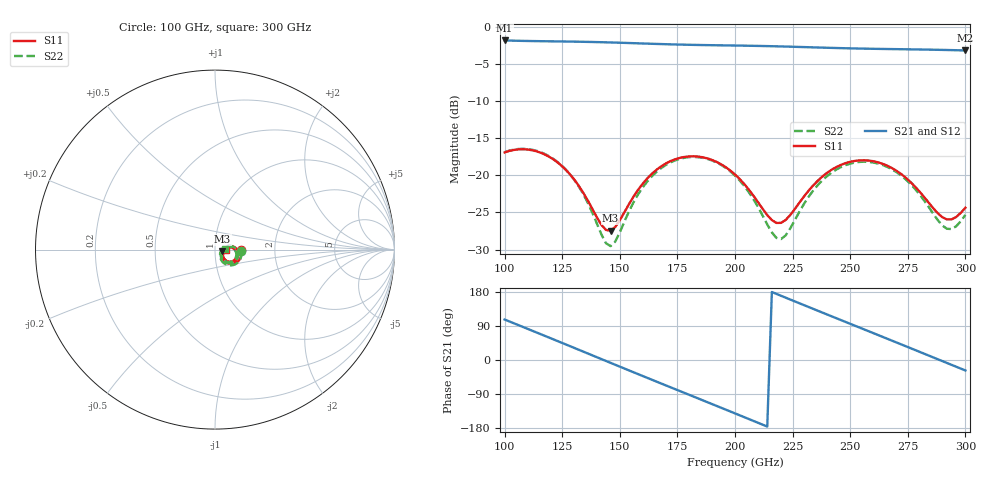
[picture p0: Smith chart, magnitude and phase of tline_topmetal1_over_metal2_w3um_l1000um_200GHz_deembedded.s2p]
! Created with skrf 2.2.0 (http://scikit-rf.org).
# GHz S DB R 50.0
! Port[1] = P1
! Port[2] = P2
!freq dBS11 angS11 dBS21 angS21 dBS12 angS12 dBS22 angS22
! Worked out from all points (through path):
!   101 points, 100 GHz to 300 GHz, reference 50 ohm
!   highest |S21| = -1.81 dB at 100 GHz (marker M1); lowest = -3.2 dB at 300 GHz (marker M2)
!   group delay of S21, straight-line fit = 6.87 ps
!   lowest |S11| = -27.5 dB at 146 GHz (marker M3), VSWR 1.09, Z = 54.3 - j1.1 ohm
!   |S11| at or under -10 dB: start of sweep to end of sweep
!   |S22| runs from -29.5 to -16.4 dB; largest |S21 - S12| = 5.6e-16
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100  -16.91 -0.9  -1.81 106.8  -1.81 106.8  -16.87 -3.0
108  -16.48 -15.3  -1.87 87.1  -1.87 87.1  -16.42 -18.2
116  -16.99 -29.5  -1.91 67.3  -1.91 67.3  -16.92 -33.4
126  -19.07 -44.8  -1.95 42.5  -1.95 42.5  -19.04 -50.5
134  -22.28 -50.6  -1.99 22.5  -1.99 22.5  -22.44 -58.9
142  -26.68 -35.4  -2.05 2.5  -2.05 2.5  -27.96 -46.2
146  -27.47 -13.9  -2.08 -7.5  -2.08 -7.5  -29.55 -18.9
156  -22.85 14.4  -2.18 -32.4  -2.18 -32.4  -23.61 17.0
168  -18.78 4.8  -2.30 -62.1  -2.30 -62.1  -19.01 5.0
176  -17.65 -7.4  -2.36 -81.8  -2.36 -81.8  -17.78 -8.5
184  -17.47 -20.4  -2.42 -101.4  -2.42 -101.4  -17.55 -22.7
200  -19.89 -42.9  -2.49 -140.9  -2.49 -140.9  -20.04 -48.6
210  -23.62 -44.7  -2.55 -165.7  -2.55 -165.7  -24.28 -53.8
216  -26.03 -30.7  -2.59 179.4  -2.59 179.4  -27.70 -39.7
220  -26.41 -14.4  -2.62 169.4  -2.62 169.4  -28.59 -17.6
234  -21.33 7.7  -2.74 134.8  -2.74 134.8  -22.02 11.1
250  -18.17 -10.4  -2.87 95.5  -2.87 95.5  -18.42 -9.8
258  -18.00 -22.4  -2.92 75.9  -2.92 75.9  -18.19 -22.9
268  -18.99 -36.4  -2.97 51.4  -2.97 51.4  -19.17 -38.4
280  -22.15 -45.3  -3.03 21.8  -3.03 21.8  -22.52 -49.6
292  -25.94 -23.7  -3.10 -7.9  -3.10 -7.9  -27.20 -26.5
300  -24.37 -0.4  -3.16 -27.6  -3.16 -27.6  -25.33 1.9
